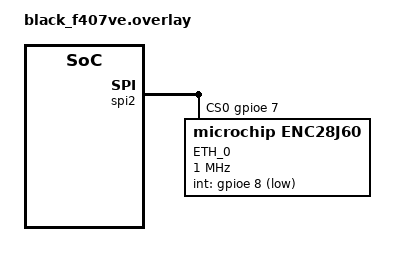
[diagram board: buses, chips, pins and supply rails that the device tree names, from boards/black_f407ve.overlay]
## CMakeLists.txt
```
# SPDX-License-Identifier: Apache-2.0

cmake_minimum_required(VERSION 3.13.1)

include($ENV{ZEPHYR_BASE}/cmake/app/boilerplate.cmake NO_POLICY_SCOPE)
project(enc28j60)

target_sources(app PRIVATE src/main.c)
```

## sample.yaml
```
common:
  tags: net ethernet enc28j60
  depends_on: netif
  min_flash: 140
  harness: net
sample:
  description: Simple sample application that uses enc28j60
    Ethernet controller.
  name: enc28j60 sample
tests:
  # Create a whitelisted entry for each supported board
  sample.driver.enc28j60.black_f407ve:
    platform_whitelist: black_f407ve
```

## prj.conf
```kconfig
# Generic networking options
CONFIG_NETWORKING=y
CONFIG_NET_UDP=y
CONFIG_NET_TCP=y
CONFIG_NET_IPV6=y
CONFIG_NET_IPV4=y
CONFIG_NET_SOCKETS=y
CONFIG_NET_SOCKETS_POSIX_NAMES=y
CONFIG_NET_CONNECTION_MANAGER=y
CONFIG_NET_STATISTICS=y
CONFIG_NET_L2_ETHERNET=y

# Logging
CONFIG_LOG=y
CONFIG_NET_LOG=y

# Network buffers
CONFIG_NET_PKT_RX_COUNT=4
CONFIG_NET_PKT_TX_COUNT=4
CONFIG_NET_BUF_RX_COUNT=4
CONFIG_NET_BUF_TX_COUNT=4

# Shells
CONFIG_NET_SHELL=y
CONFIG_KERNEL_SHELL=y
CONFIG_SHELL=y

# Network application options and configuration
CONFIG_NET_CONFIG_SETTINGS=y
CONFIG_NET_CONFIG_MY_IPV6_ADDR="2001:db8::1"
CONFIG_NET_CONFIG_PEER_IPV6_ADDR="2001:db8::2"
CONFIG_NET_CONFIG_MY_IPV4_ADDR="192.0.2.1"
CONFIG_NET_CONFIG_PEER_IPV4_ADDR="192.0.2.2"

# Settings for enc28j60
CONFIG_SPI=y
CONFIG_ETH_ENC28J60=y
CONFIG_ETH_ENC28J60_0=y
CONFIG_ETH_ENC28J60_0_GPIO_SPI_CS=y
```

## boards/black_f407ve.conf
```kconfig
CONFIG_SPI_0=y
CONFIG_SPI_STM32_INTERRUPT=y
```

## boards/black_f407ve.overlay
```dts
/*
 * Copyright (c) 2020 Intel Corporation
 *
 * SPDX-License-Identifier: Apache-2.0
 */

&spi2 {
	status = "okay";
	cs-gpios = <&gpioe 7 0>;

	enc28j60@0 {
		compatible = "microchip,enc28j60";
		spi-max-frequency = <1000000>;
		local-mac-address = [00 00 00 00 04 8f];
		int-gpios = <&gpioe 8 GPIO_ACTIVE_LOW>;
		status = "okay";
		label = "ETH_0";
		reg = <0>;
	};
};
```

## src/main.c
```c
/*
 * Copyright (c) 2020 Intel Corporation
 *
 * SPDX-License-Identifier: Apache-2.0
 */

#include <zephyr.h>
#include <sys/printk.h>
#include <drivers/uart.h>
#include <net/net_mgmt.h>
#include <net/net_event.h>
#include <net/net_conn_mgr.h>

#include <logging/log.h>
LOG_MODULE_REGISTER(sample_enc28j60, LOG_LEVEL_DBG);

static struct net_mgmt_event_callback mgmt_cb;

static void event_handler(struct net_mgmt_event_callback *cb,
			  u32_t mgmt_event, struct net_if *iface)
{
	if ((mgmt_event & (NET_EVENT_L4_CONNECTED
			   | NET_EVENT_L4_DISCONNECTED)) != mgmt_event) {
		return;
	}

	if (mgmt_event == NET_EVENT_L4_CONNECTED) {
		LOG_INF("Network connected");
		return;
	}

	if (mgmt_event == NET_EVENT_L4_DISCONNECTED) {
		LOG_INF("Network disconnected");
		return;
	}
}

int main(void)
{
	LOG_INF("Booted board '%s'", CONFIG_BOARD);

	net_mgmt_init_event_callback(&mgmt_cb, event_handler,
				     NET_EVENT_L4_CONNECTED |
				     NET_EVENT_L4_DISCONNECTED);
	net_mgmt_add_event_callback(&mgmt_cb);

	return 0;
}
```
